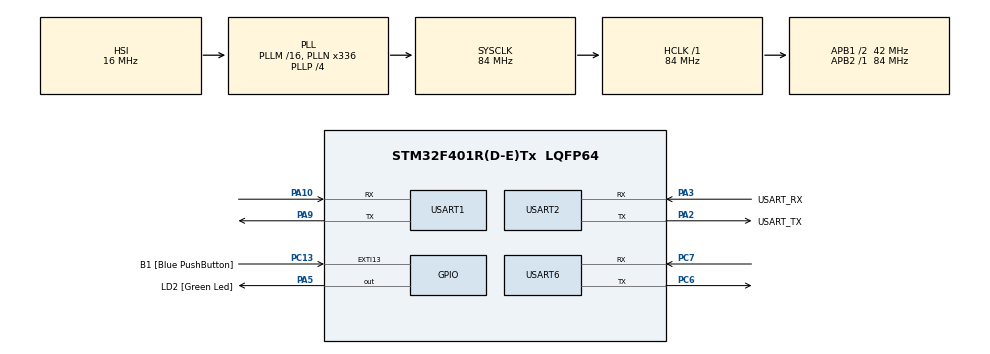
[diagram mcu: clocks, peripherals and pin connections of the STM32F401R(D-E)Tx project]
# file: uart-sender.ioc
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Mcu.Family=STM32F4
Mcu.Name=STM32F401R(D-E)Tx
Mcu.Package=LQFP64
NVIC.PriorityGroup=NVIC_PRIORITYGROUP_0
PA10.Mode=Asynchronous
PA10.Signal=USART1_RX
PA13.GPIO_Label=TMS
PA13.Mode=Serial_Wire
PA13.Signal=SYS_JTMS-SWDIO
PA14.GPIO_Label=TCK
PA14.Mode=Serial_Wire
PA14.Signal=SYS_JTCK-SWCLK
PA2.GPIO_Label=USART_TX
PA2.GPIO_Mode=GPIO_MODE_AF_PP
PA2.GPIO_PuPd=GPIO_NOPULL
PA2.GPIO_Speed=GPIO_SPEED_FREQ_VERY_HIGH
PA2.Mode=Asynchronous
PA2.Signal=USART2_TX
PA3.GPIO_Label=USART_RX
PA3.GPIO_Mode=GPIO_MODE_AF_PP
PA3.GPIO_PuPd=GPIO_NOPULL
PA3.GPIO_Speed=GPIO_SPEED_FREQ_VERY_HIGH
PA3.Mode=Asynchronous
PA3.Signal=USART2_RX
PA5.GPIO_Label=LD2 [Green Led]
PA5.GPIO_Mode=GPIO_MODE_OUTPUT_PP
PA5.GPIO_PuPd=GPIO_NOPULL
PA5.GPIO_Speed=GPIO_SPEED_FREQ_LOW
PA5.Signal=GPIO_Output
PA9.Mode=Asynchronous
PA9.Signal=USART1_TX
PB3.GPIO_Label=SWO
PB3.Signal=SYS_JTDO-SWO
PC13-ANTI_TAMP.GPIO_Label=B1 [Blue PushButton]
PC13-ANTI_TAMP.GPIO_ModeDefaultEXTI=GPIO_MODE_IT_FALLING
PC13-ANTI_TAMP.GPIO_PuPd=GPIO_NOPULL
PC13-ANTI_TAMP.Signal=GPXTI13
PC14-OSC32_IN.Mode=LSE-External-Oscillator
PC14-OSC32_IN.Signal=RCC_OSC32_IN
PC15-OSC32_OUT.Mode=LSE-External-Oscillator
PC15-OSC32_OUT.Signal=RCC_OSC32_OUT
PC6.Mode=Asynchronous
PC6.Signal=USART6_TX
PC7.Mode=Asynchronous
PC7.Signal=USART6_RX
PH0\ -\ OSC_IN.Mode=HSE-External-Clock-Source
PH0\ -\ OSC_IN.Signal=RCC_OSC_IN
PH1\ -\ OSC_OUT.Mode=HSE-External-Clock-Source
PH1\ -\ OSC_OUT.Signal=RCC_OSC_OUT
ProjectManager.HeapSize=0x200
ProjectManager.StackSize=0x400
ProjectManager.TargetToolchain=STM32CubeIDE
RCC.48MHZClocksFreq_Value=48000000
RCC.AHBFreq_Value=84000000
RCC.APB1CLKDivider=RCC_HCLK_DIV2
RCC.APB1Freq_Value=42000000
RCC.APB1TimFreq_Value=84000000
RCC.APB2Freq_Value=84000000
RCC.APB2TimFreq_Value=84000000
RCC.CortexFreq_Value=84000000
RCC.HCLKFreq_Value=84000000
RCC.HSE_VALUE=8000000
RCC.HSI_VALUE=16000000
RCC.PLLN=336
RCC.PLLP=RCC_PLLP_DIV4
RCC.PLLQ=7
RCC.SYSCLKFreq_VALUE=84000000
RCC.SYSCLKSource=RCC_SYSCLKSOURCE_PLLCLK
RCC.VCOOutputFreq_Value=336000000
USART1.VirtualMode=VM_ASYNC
USART2.VirtualMode=VM_ASYNC
USART6.VirtualMode=VM_ASYNC
board=NUCLEO-F401RE

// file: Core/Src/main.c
/* USER CODE BEGIN Header */
/**
  ******************************************************************************
  * @file           : main.c
  * @brief          : Main program body
  ******************************************************************************
  * @attention
  *
  * Copyright (c) 2024 STMicroelectronics.
  * All rights reserved.
  *
  * This software is licensed under terms that can be found in the LICENSE file
  * in the root directory of this software component.
  * If no LICENSE file comes with this software, it is provided AS-IS.
  *
  ******************************************************************************
  */
/* USER CODE END Header */
#include "main.h"

/* USER CODE BEGIN PTD */
typedef struct{
    float AccelX_g, AccelY_g, AccelZ_g;
}Accel_xyz;

/* USER CODE END PTD */

/* USER CODE BEGIN PD */

#define WINDOW_SIZE 10 // Size of the sliding window
/* USER CODE END PD */

UART_HandleTypeDef huart1;
UART_HandleTypeDef huart2;
UART_HandleTypeDef huart6;

void SystemClock_Config(void);
static void MX_GPIO_Init(void);
static void MX_USART2_UART_Init(void);
static void MX_USART6_UART_Init(void);
static void MX_USART1_UART_Init(void);

/* USER CODE BEGIN 0 */
//uint8_t send[] = "Hello World\r\n";

typedef struct {
    Accel_xyz buffer[WINDOW_SIZE]; // Circular buffer for storing data
    int count;                     // Number of elements currently in the buffer
    int index;                     // Current index in the circular buffer
    Accel_xyz sum;                 // Sum of elements in the window
} SlidingWindow;

// Initialize the sliding window
void SlidingWindow_Init(SlidingWindow *window) {
    memset(window, 0, sizeof(SlidingWindow));
}

// Add a new element to the sliding window and calculate the running average
Accel_xyz SlidingWindow_Add(SlidingWindow *window, Accel_xyz new_data) {
    // Remove the oldest data from the sum if the window is full
    if (window->count == WINDOW_SIZE) {
        Accel_xyz oldest = window->buffer[window->index];
        window->sum.AccelX_g -= oldest.AccelX_g;
        window->sum.AccelY_g -= oldest.AccelY_g;
        window->sum.AccelZ_g -= oldest.AccelZ_g;
    } else {
        // Increment the count if the window isn't full
        window->count++;
    }

    // Add the new data to the sum
    window->sum.AccelX_g += new_data.AccelX_g;
    window->sum.AccelY_g += new_data.AccelY_g;
    window->sum.AccelZ_g += new_data.AccelZ_g;

    // Store the new data in the circular buffer
    window->buffer[window->index] = new_data;

    // Advance the index
    window->index = (window->index + 1) % WINDOW_SIZE;

    // Calculate the running average
    Accel_xyz average = {
            .AccelX_g = window->sum.AccelX_g / window->count,
            .AccelY_g = window->sum.AccelY_g / window->count,
            .AccelZ_g = window->sum.AccelZ_g / window->count,
    };

    return average;
}
/* USER CODE END 0 */

int main(void)
{

  /* MCU Configuration--------------------------------------------------------*/

  /* Reset of all peripherals, Initializes the Flash interface and the Systick. */
  HAL_Init();

  /* Configure the system clock */
  SystemClock_Config();

  /* Initialize all configured peripherals */
  MX_GPIO_Init();
  MX_USART2_UART_Init();
  MX_USART6_UART_Init();
  MX_USART1_UART_Init();
  /* USER CODE BEGIN 2 */
  SlidingWindow window;
  SlidingWindow_Init(&window);
  Accel_xyz running_average;

  /* USER CODE END 2 */

  /* Infinite loop */
  while (1)
  {

    /* USER CODE BEGIN 3 */
//      HAL_UART_Transmit(&huart6, data, 12, 1000);
//      HAL_GPIO_TogglePin(LD2_GPIO_Port, LD2_Pin);
//      HAL_Delay(1000);
    Accel_xyz data;
    if(HAL_UART_Receive(&huart6, (const uint8_t* )&data, sizeof(data), 1000)==HAL_OK){
        if(window.count > WINDOW_SIZE){
        }
        running_average = SlidingWindow_Add(&window, data);
    }

  }
  /* USER CODE END 3 */
}
void SystemClock_Config(void)
{
  RCC_OscInitTypeDef RCC_OscInitStruct = {0};
  RCC_ClkInitTypeDef RCC_ClkInitStruct = {0};

  /** Configure the main internal regulator output voltage
  */
  __HAL_RCC_PWR_CLK_ENABLE();
  __HAL_PWR_VOLTAGESCALING_CONFIG(PWR_REGULATOR_VOLTAGE_SCALE2);

  /** Initializes the RCC Oscillators according to the specified parameters
  * in the RCC_OscInitTypeDef structure.
  */
  RCC_OscInitStruct.OscillatorType = RCC_OSCILLATORTYPE_HSI;
  RCC_OscInitStruct.HSIState = RCC_HSI_ON;
  RCC_OscInitStruct.HSICalibrationValue = RCC_HSICALIBRATION_DEFAULT;
  RCC_OscInitStruct.PLL.PLLState = RCC_PLL_ON;
  RCC_OscInitStruct.PLL.PLLSource = RCC_PLLSOURCE_HSI;
  RCC_OscInitStruct.PLL.PLLM = 16;
  RCC_OscInitStruct.PLL.PLLN = 336;
  RCC_OscInitStruct.PLL.PLLP = RCC_PLLP_DIV4;
  RCC_OscInitStruct.PLL.PLLQ = 7;
  if (HAL_RCC_OscConfig(&RCC_OscInitStruct) != HAL_OK)
  {
    Error_Handler();
  }

  /** Initializes the CPU, AHB and APB buses clocks
  */
  RCC_ClkInitStruct.ClockType = RCC_CLOCKTYPE_HCLK|RCC_CLOCKTYPE_SYSCLK
                              |RCC_CLOCKTYPE_PCLK1|RCC_CLOCKTYPE_PCLK2;
  RCC_ClkInitStruct.SYSCLKSource = RCC_SYSCLKSOURCE_PLLCLK;
  RCC_ClkInitStruct.AHBCLKDivider = RCC_SYSCLK_DIV1;
  RCC_ClkInitStruct.APB1CLKDivider = RCC_HCLK_DIV2;
  RCC_ClkInitStruct.APB2CLKDivider = RCC_HCLK_DIV1;

  if (HAL_RCC_ClockConfig(&RCC_ClkInitStruct, FLASH_LATENCY_2) != HAL_OK)
  {
    Error_Handler();
  }
}

static void MX_USART1_UART_Init(void)
{

  huart1.Instance = USART1;
  huart1.Init.BaudRate = 115200;
  huart1.Init.WordLength = UART_WORDLENGTH_8B;
  huart1.Init.StopBits = UART_STOPBITS_1;
  huart1.Init.Parity = UART_PARITY_NONE;
  huart1.Init.Mode = UART_MODE_TX_RX;
  huart1.Init.HwFlowCtl = UART_HWCONTROL_NONE;
  huart1.Init.OverSampling = UART_OVERSAMPLING_16;
  if (HAL_UART_Init(&huart1) != HAL_OK)
  {
    Error_Handler();
  }

}

static void MX_USART2_UART_Init(void)
{

  huart2.Instance = USART2;
  huart2.Init.BaudRate = 115200;
  huart2.Init.WordLength = UART_WORDLENGTH_8B;
  huart2.Init.StopBits = UART_STOPBITS_1;
  huart2.Init.Parity = UART_PARITY_NONE;
  huart2.Init.Mode = UART_MODE_TX_RX;
  huart2.Init.HwFlowCtl = UART_HWCONTROL_NONE;
  huart2.Init.OverSampling = UART_OVERSAMPLING_16;
  if (HAL_UART_Init(&huart2) != HAL_OK)
  {
    Error_Handler();
  }

}

static void MX_USART6_UART_Init(void)
{

  huart6.Instance = USART6;
  huart6.Init.BaudRate = 115200;
  huart6.Init.WordLength = UART_WORDLENGTH_8B;
  huart6.Init.StopBits = UART_STOPBITS_1;
  huart6.Init.Parity = UART_PARITY_NONE;
  huart6.Init.Mode = UART_MODE_TX_RX;
  huart6.Init.HwFlowCtl = UART_HWCONTROL_NONE;
  huart6.Init.OverSampling = UART_OVERSAMPLING_16;
  if (HAL_UART_Init(&huart6) != HAL_OK)
  {
    Error_Handler();
  }

}

static void MX_GPIO_Init(void)
{
  GPIO_InitTypeDef GPIO_InitStruct = {0};

  /* GPIO Ports Clock Enable */
  __HAL_RCC_GPIOC_CLK_ENABLE();
  __HAL_RCC_GPIOH_CLK_ENABLE();
  __HAL_RCC_GPIOA_CLK_ENABLE();
  __HAL_RCC_GPIOB_CLK_ENABLE();

  /*Configure GPIO pin Output Level */
  HAL_GPIO_WritePin(LD2_GPIO_Port, LD2_Pin, GPIO_PIN_RESET);

  /*Configure GPIO pin : B1_Pin */
  GPIO_InitStruct.Pin = B1_Pin;
  GPIO_InitStruct.Mode = GPIO_MODE_IT_FALLING;
  GPIO_InitStruct.Pull = GPIO_NOPULL;
  HAL_GPIO_Init(B1_GPIO_Port, &GPIO_InitStruct);

  /*Configure GPIO pin : LD2_Pin */
  GPIO_InitStruct.Pin = LD2_Pin;
  GPIO_InitStruct.Mode = GPIO_MODE_OUTPUT_PP;
  GPIO_InitStruct.Pull = GPIO_NOPULL;
  GPIO_InitStruct.Speed = GPIO_SPEED_FREQ_LOW;
  HAL_GPIO_Init(LD2_GPIO_Port, &GPIO_InitStruct);

}

void Error_Handler(void)
{
  __disable_irq();
  while (1)
  {
  }
}
